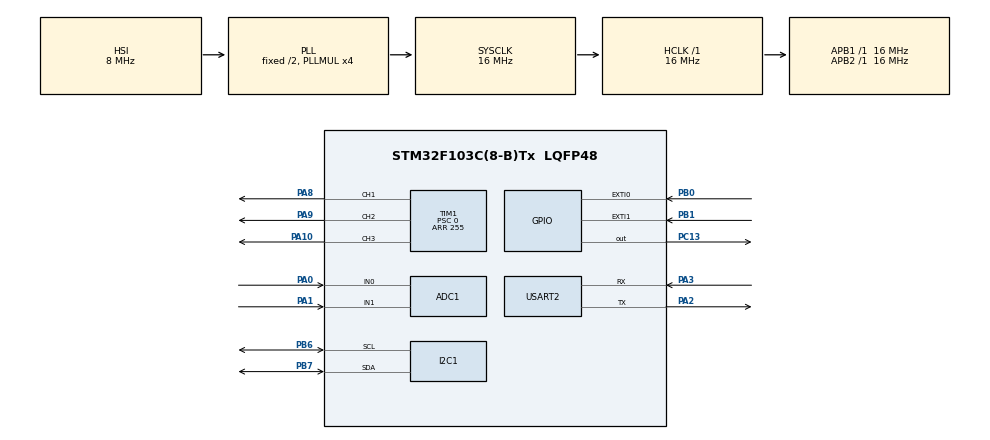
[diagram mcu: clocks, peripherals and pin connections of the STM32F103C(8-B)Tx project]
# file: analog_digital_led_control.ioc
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ADC1.Channel-4\#ChannelRegularConversion=ADC_CHANNEL_1
ADC1.ContinuousConvMode=ENABLE
ADC1.DiscontinuousConvMode=DISABLE
ADC1.NbrOfConversion=2
ADC1.NbrOfConversionFlag=1
ADC1.Rank-4\#ChannelRegularConversion=2
ADC1.SamplingTime-2\#ChannelRegularConversion=ADC_SAMPLETIME_239CYCLES_5
ADC1.SamplingTime-4\#ChannelRegularConversion=ADC_SAMPLETIME_239CYCLES_5
ADC1.master=1
Dma.ADC1.0.Direction=DMA_PERIPH_TO_MEMORY
Dma.ADC1.0.Instance=DMA1_Channel1
Dma.ADC1.0.MemDataAlignment=DMA_MDATAALIGN_HALFWORD
Dma.ADC1.0.MemInc=DMA_MINC_ENABLE
Dma.ADC1.0.Mode=DMA_NORMAL
Dma.ADC1.0.PeriphDataAlignment=DMA_PDATAALIGN_HALFWORD
Dma.ADC1.0.PeriphInc=DMA_PINC_DISABLE
Dma.ADC1.0.Priority=DMA_PRIORITY_LOW
Dma.Request0=ADC1
Mcu.Family=STM32F1
Mcu.Name=STM32F103C(8-B)Tx
Mcu.Package=LQFP48
NVIC.DMA1_Channel1_IRQn=true\:0\:0\:false\:false\:true\:false\:true\:true
NVIC.EXTI0_IRQn=true\:0\:0\:false\:false\:true\:true\:true\:true
NVIC.EXTI1_IRQn=true\:0\:0\:false\:false\:true\:true\:true\:true
NVIC.PriorityGroup=NVIC_PRIORITYGROUP_4
PA0-WKUP.Signal=ADCx_IN0
PA1.Signal=ADCx_IN1
PA10.Signal=S_TIM1_CH3
PA13.Mode=Serial_Wire
PA13.Signal=SYS_JTMS-SWDIO
PA14.Mode=Serial_Wire
PA14.Signal=SYS_JTCK-SWCLK
PA2.Mode=Asynchronous
PA2.Signal=USART2_TX
PA3.Mode=Asynchronous
PA3.Signal=USART2_RX
PA8.Signal=S_TIM1_CH1
PA9.Signal=S_TIM1_CH2
PB0.GPIO_ModeDefaultEXTI=GPIO_MODE_IT_FALLING
PB0.GPIO_PuPd=GPIO_PULLUP
PB0.Signal=GPXTI0
PB1.GPIO_ModeDefaultEXTI=GPIO_MODE_IT_FALLING
PB1.GPIO_PuPd=GPIO_PULLUP
PB1.Signal=GPXTI1
PB6.Mode=I2C
PB6.Signal=I2C1_SCL
PB7.Mode=I2C
PB7.Signal=I2C1_SDA
PC13-TAMPER-RTC.Signal=GPIO_Output
PD0-OSC_IN.Mode=HSE-External-Oscillator
PD0-OSC_IN.Signal=RCC_OSC_IN
PD1-OSC_OUT.Mode=HSE-External-Oscillator
PD1-OSC_OUT.Signal=RCC_OSC_OUT
ProjectManager.HeapSize=0x200
ProjectManager.StackSize=0x400
ProjectManager.TargetToolchain=STM32CubeIDE
RCC.AHBFreq_Value=16000000
RCC.APB1Freq_Value=16000000
RCC.APB1TimFreq_Value=16000000
RCC.APB2Freq_Value=16000000
RCC.APB2TimFreq_Value=16000000
RCC.HCLKFreq_Value=16000000
RCC.PLLMUL=RCC_PLL_MUL4
RCC.SYSCLKFreq_VALUE=16000000
RCC.SYSCLKSource=RCC_SYSCLKSOURCE_PLLCLK
RCC.USBFreq_Value=16000000
SH.ADCx_IN0.0=ADC1_IN0,IN0
SH.ADCx_IN1.0=ADC1_IN1,IN1
SH.S_TIM1_CH1.0=TIM1_CH1,PWM Generation1 CH1
SH.S_TIM1_CH2.0=TIM1_CH2,PWM Generation2 CH2
SH.S_TIM1_CH3.0=TIM1_CH3,PWM Generation3 CH3
TIM1.Channel-PWM\ Generation1\ CH1=TIM_CHANNEL_1
TIM1.Channel-PWM\ Generation2\ CH2=TIM_CHANNEL_2
TIM1.Channel-PWM\ Generation3\ CH3=TIM_CHANNEL_3
TIM1.Period=255
TIM1.Prescaler=0
TIM1.Pulse-PWM\ Generation1\ CH1=0
TIM1.Pulse-PWM\ Generation3\ CH3=0
USART2.VirtualMode=VM_ASYNC
board=custom

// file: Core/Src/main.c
/* USER CODE BEGIN Header */
/**
  ******************************************************************************
  * @file           : main.c
  * @brief          : Main program body
  ******************************************************************************
  * @attention
  *
  * Copyright (c) 2025 STMicroelectronics.
  * All rights reserved.
  *
  * This software is licensed under terms that can be found in the LICENSE file
  * in the root directory of this software component.
  * If no LICENSE file comes with this software, it is provided AS-IS.
  *
  ******************************************************************************
  */
/* USER CODE END Header */
#include "main.h"

/* USER CODE BEGIN PD */
PCF8574_HandleTypeDef pcf8574;

/* USER CODE END PD */

ADC_HandleTypeDef hadc1;
DMA_HandleTypeDef hdma_adc1;

I2C_HandleTypeDef hi2c1;

TIM_HandleTypeDef htim1;

UART_HandleTypeDef huart2;

void SystemClock_Config(void);
static void MX_GPIO_Init(void);
static void MX_DMA_Init(void);
static void MX_I2C1_Init(void);
static void MX_TIM1_Init(void);
static void MX_ADC1_Init(void);
static void MX_USART2_UART_Init(void);

/* USER CODE BEGIN 0 */
uint16_t adcData[2];
float adcVoltage[ADC_CHANNELS_NUM];
uint8_t flag = 1;

void UART_SendString(char *str)
{
    HAL_UART_Transmit(&huart2, (uint8_t*)str, strlen(str), HAL_MAX_DELAY);
}
/* USER CODE END 0 */

int main(void)
{

  /* MCU Configuration--------------------------------------------------------*/

  /* Reset of all peripherals, Initializes the Flash interface and the Systick. */
  HAL_Init();

  /* USER CODE BEGIN Init */
  srand(HAL_GetTick());

  /* USER CODE END Init */

  /* Configure the system clock */
  SystemClock_Config();

  /* Initialize all configured peripherals */
  MX_GPIO_Init();
  MX_DMA_Init();
  MX_I2C1_Init();
  MX_TIM1_Init();
  MX_ADC1_Init();
  MX_USART2_UART_Init();
  /* USER CODE BEGIN 2 */
  PCF8574_Init(&pcf8574, &hi2c1, 0, 0, 0);
  HAL_TIM_PWM_Start(&htim1, TIM_CHANNEL_1);
  HAL_TIM_PWM_Start(&htim1, TIM_CHANNEL_2);
  HAL_TIM_PWM_Start(&htim1, TIM_CHANNEL_3);

  /* USER CODE END 2 */

  /* Infinite loop */
  while (1)
  {

    /* USER CODE BEGIN 3 */
	  if (flag) {
	        HAL_ADC_Stop_DMA(&hadc1);

	        float voltage0 = ((float)adcData[0] / 4095) * 3.3;
	        float voltage1 = ((float)adcData[1] / 4095) * 3.3;
	        char buffer[50];
	        snprintf(buffer, sizeof(buffer), "CH0: %.2fV, CH1: %.2fV\r\n", voltage0, voltage1);
	        UART_SendString(buffer);
	        uint32_t ledValue = (uint32_t)((voltage0 / 3.3) * 1000);
	        __HAL_TIM_SET_COMPARE(&htim1, TIM_CHANNEL_1, ledValue);

	        uint32_t potentiometerValue = (uint32_t)((voltage1 / 6.3) * 1000);
	        __HAL_TIM_SET_COMPARE(&htim1, TIM_CHANNEL_2, potentiometerValue);

	        adcData[0] = 0;
	        adcData[1] = 0;
	        HAL_ADC_Start_DMA(&hadc1, (uint32_t*)&adcData, 2);

	  }

	  switch (ledBlinkMode) {
		  case LED_BLINK_OFF: {
			 PCF8574_WritePort(&pcf8574, ~0x0);
        	 break;
		  }

          case LED_BLINK_SLOW_SYNC: {
        	 HAL_Delay(1500);
        	 PCF8574_WritePort(&pcf8574, 0x0);
        	 HAL_Delay(1500);
        	 PCF8574_WritePort(&pcf8574, ~0x0);
             break;
          }

		  case LED_BLINK_FAST_SYNC: {
			  HAL_Delay(500);
			  PCF8574_WritePort(&pcf8574, 0x0);
			  HAL_Delay(500);
			  PCF8574_WritePort(&pcf8574, ~0x0);
			  break;
		   }

		   case LED_BLINK_FAST_SEQ: {
			   for (int led_pin = 4; led_pin < 7; led_pin++) {
				   PCF8574_TogglePin(&pcf8574, led_pin);
				   HAL_Delay(500);
			   }
			   break;
		   }

		   case LED_BLINK_SLOW_SEQ: {
			   for (int led_pin = 4; led_pin < 7; led_pin++) {
				   PCF8574_TogglePin(&pcf8574, led_pin);
				   HAL_Delay(1500);
			   }
			   break;
		   }

		   case LED_BLINK_RANDOM: {

			   while(LED_BLINK_RANDOM  == ledBlinkMode) {
				   int led_pin = (rand() % 7) + 4;
				   PCF8574_TogglePin(&pcf8574, led_pin);
				   HAL_Delay(700 / (rand() % 10));

			   }
			   break;
		   }

		  }

  }
  /* USER CODE END 3 */
}

void SystemClock_Config(void)
{
  RCC_OscInitTypeDef RCC_OscInitStruct = {0};
  RCC_ClkInitTypeDef RCC_ClkInitStruct = {0};
  RCC_PeriphCLKInitTypeDef PeriphClkInit = {0};

  /** Initializes the RCC Oscillators according to the specified parameters
  * in the RCC_OscInitTypeDef structure.
  */
  RCC_OscInitStruct.OscillatorType = RCC_OSCILLATORTYPE_HSI;
  RCC_OscInitStruct.HSIState = RCC_HSI_ON;
  RCC_OscInitStruct.HSICalibrationValue = RCC_HSICALIBRATION_DEFAULT;
  RCC_OscInitStruct.PLL.PLLState = RCC_PLL_ON;
  RCC_OscInitStruct.PLL.PLLSource = RCC_PLLSOURCE_HSI_DIV2;
  RCC_OscInitStruct.PLL.PLLMUL = RCC_PLL_MUL4;
  if (HAL_RCC_OscConfig(&RCC_OscInitStruct) != HAL_OK)
  {
    Error_Handler();
  }

  /** Initializes the CPU, AHB and APB buses clocks
  */
  RCC_ClkInitStruct.ClockType = RCC_CLOCKTYPE_HCLK|RCC_CLOCKTYPE_SYSCLK
                              |RCC_CLOCKTYPE_PCLK1|RCC_CLOCKTYPE_PCLK2;
  RCC_ClkInitStruct.SYSCLKSource = RCC_SYSCLKSOURCE_PLLCLK;
  RCC_ClkInitStruct.AHBCLKDivider = RCC_SYSCLK_DIV1;
  RCC_ClkInitStruct.APB1CLKDivider = RCC_HCLK_DIV1;
  RCC_ClkInitStruct.APB2CLKDivider = RCC_HCLK_DIV1;

  if (HAL_RCC_ClockConfig(&RCC_ClkInitStruct, FLASH_LATENCY_0) != HAL_OK)
  {
    Error_Handler();
  }
  PeriphClkInit.PeriphClockSelection = RCC_PERIPHCLK_ADC;
  PeriphClkInit.AdcClockSelection = RCC_ADCPCLK2_DIV2;
  if (HAL_RCCEx_PeriphCLKConfig(&PeriphClkInit) != HAL_OK)
  {
    Error_Handler();
  }
}

static void MX_ADC1_Init(void)
{

  ADC_ChannelConfTypeDef sConfig = {0};

  /** Common config
  */
  hadc1.Instance = ADC1;
  hadc1.Init.ScanConvMode = ADC_SCAN_ENABLE;
  hadc1.Init.ContinuousConvMode = ENABLE;
  hadc1.Init.DiscontinuousConvMode = DISABLE;
  hadc1.Init.ExternalTrigConv = ADC_SOFTWARE_START;
  hadc1.Init.DataAlign = ADC_DATAALIGN_RIGHT;
  hadc1.Init.NbrOfConversion = 2;
  if (HAL_ADC_Init(&hadc1) != HAL_OK)
  {
    Error_Handler();
  }

  /** Configure Regular Channel
  */
  sConfig.Channel = ADC_CHANNEL_0;
  sConfig.Rank = ADC_REGULAR_RANK_1;
  sConfig.SamplingTime = ADC_SAMPLETIME_239CYCLES_5;
  if (HAL_ADC_ConfigChannel(&hadc1, &sConfig) != HAL_OK)
  {
    Error_Handler();
  }

  /** Configure Regular Channel
  */
  sConfig.Channel = ADC_CHANNEL_1;
  sConfig.Rank = ADC_REGULAR_RANK_2;
  if (HAL_ADC_ConfigChannel(&hadc1, &sConfig) != HAL_OK)
  {
    Error_Handler();
  }

}

static void MX_I2C1_Init(void)
{

  hi2c1.Instance = I2C1;
  hi2c1.Init.ClockSpeed = 100000;
  hi2c1.Init.DutyCycle = I2C_DUTYCYCLE_2;
  hi2c1.Init.OwnAddress1 = 0;
  hi2c1.Init.AddressingMode = I2C_ADDRESSINGMODE_7BIT;
  hi2c1.Init.DualAddressMode = I2C_DUALADDRESS_DISABLE;
  hi2c1.Init.OwnAddress2 = 0;
  hi2c1.Init.GeneralCallMode = I2C_GENERALCALL_DISABLE;
  hi2c1.Init.NoStretchMode = I2C_NOSTRETCH_DISABLE;
  if (HAL_I2C_Init(&hi2c1) != HAL_OK)
  {
    Error_Handler();
  }

}

static void MX_TIM1_Init(void)
{

  TIM_MasterConfigTypeDef sMasterConfig = {0};
  TIM_OC_InitTypeDef sConfigOC = {0};
  TIM_BreakDeadTimeConfigTypeDef sBreakDeadTimeConfig = {0};

  htim1.Instance = TIM1;
  htim1.Init.Prescaler = 0;
  htim1.Init.CounterMode = TIM_COUNTERMODE_UP;
  htim1.Init.Period = 255;
  htim1.Init.ClockDivision = TIM_CLOCKDIVISION_DIV1;
  htim1.Init.RepetitionCounter = 0;
  htim1.Init.AutoReloadPreload = TIM_AUTORELOAD_PRELOAD_DISABLE;
  if (HAL_TIM_PWM_Init(&htim1) != HAL_OK)
  {
    Error_Handler();
  }
  sMasterConfig.MasterOutputTrigger = TIM_TRGO_RESET;
  sMasterConfig.MasterSlaveMode = TIM_MASTERSLAVEMODE_DISABLE;
  if (HAL_TIMEx_MasterConfigSynchronization(&htim1, &sMasterConfig) != HAL_OK)
  {
    Error_Handler();
  }
  sConfigOC.OCMode = TIM_OCMODE_PWM1;
  sConfigOC.Pulse = 0;
  sConfigOC.OCPolarity = TIM_OCPOLARITY_HIGH;
  sConfigOC.OCNPolarity = TIM_OCNPOLARITY_HIGH;
  sConfigOC.OCFastMode = TIM_OCFAST_DISABLE;
  sConfigOC.OCIdleState = TIM_OCIDLESTATE_RESET;
  sConfigOC.OCNIdleState = TIM_OCNIDLESTATE_RESET;
  if (HAL_TIM_PWM_ConfigChannel(&htim1, &sConfigOC, TIM_CHANNEL_1) != HAL_OK)
  {
    Error_Handler();
  }
  if (HAL_TIM_PWM_ConfigChannel(&htim1, &sConfigOC, TIM_CHANNEL_2) != HAL_OK)
  {
    Error_Handler();
  }
  if (HAL_TIM_PWM_ConfigChannel(&htim1, &sConfigOC, TIM_CHANNEL_3) != HAL_OK)
  {
    Error_Handler();
  }
  sBreakDeadTimeConfig.OffStateRunMode = TIM_OSSR_DISABLE;
  sBreakDeadTimeConfig.OffStateIDLEMode = TIM_OSSI_DISABLE;
  sBreakDeadTimeConfig.LockLevel = TIM_LOCKLEVEL_OFF;
  sBreakDeadTimeConfig.DeadTime = 0;
  sBreakDeadTimeConfig.BreakState = TIM_BREAK_DISABLE;
  sBreakDeadTimeConfig.BreakPolarity = TIM_BREAKPOLARITY_HIGH;
  sBreakDeadTimeConfig.AutomaticOutput = TIM_AUTOMATICOUTPUT_DISABLE;
  if (HAL_TIMEx_ConfigBreakDeadTime(&htim1, &sBreakDeadTimeConfig) != HAL_OK)
  {
    Error_Handler();
  }
  HAL_TIM_MspPostInit(&htim1);

}

static void MX_USART2_UART_Init(void)
{

  huart2.Instance = USART2;
  huart2.Init.BaudRate = 115200;
  huart2.Init.WordLength = UART_WORDLENGTH_8B;
  huart2.Init.StopBits = UART_STOPBITS_1;
  huart2.Init.Parity = UART_PARITY_NONE;
  huart2.Init.Mode = UART_MODE_TX_RX;
  huart2.Init.HwFlowCtl = UART_HWCONTROL_NONE;
  huart2.Init.OverSampling = UART_OVERSAMPLING_16;
  if (HAL_UART_Init(&huart2) != HAL_OK)
  {
    Error_Handler();
  }

}

static void MX_DMA_Init(void)
{

  /* DMA controller clock enable */
  __HAL_RCC_DMA1_CLK_ENABLE();

  /* DMA interrupt init */
  /* DMA1_Channel1_IRQn interrupt configuration */
  HAL_NVIC_SetPriority(DMA1_Channel1_IRQn, 0, 0);
  HAL_NVIC_EnableIRQ(DMA1_Channel1_IRQn);

}

static void MX_GPIO_Init(void)
{
  GPIO_InitTypeDef GPIO_InitStruct = {0};

  /* GPIO Ports Clock Enable */
  __HAL_RCC_GPIOC_CLK_ENABLE();
  __HAL_RCC_GPIOD_CLK_ENABLE();
  __HAL_RCC_GPIOA_CLK_ENABLE();
  __HAL_RCC_GPIOB_CLK_ENABLE();

  /*Configure GPIO pin Output Level */
  HAL_GPIO_WritePin(GPIOC, GPIO_PIN_13, GPIO_PIN_RESET);

  /*Configure GPIO pin : PC13 */
  GPIO_InitStruct.Pin = GPIO_PIN_13;
  GPIO_InitStruct.Mode = GPIO_MODE_OUTPUT_PP;
  GPIO_InitStruct.Pull = GPIO_NOPULL;
  GPIO_InitStruct.Speed = GPIO_SPEED_FREQ_LOW;
  HAL_GPIO_Init(GPIOC, &GPIO_InitStruct);

  /*Configure GPIO pins : PB0 PB1 */
  GPIO_InitStruct.Pin = GPIO_PIN_0|GPIO_PIN_1;
  GPIO_InitStruct.Mode = GPIO_MODE_IT_FALLING;
  GPIO_InitStruct.Pull = GPIO_PULLUP;
  HAL_GPIO_Init(GPIOB, &GPIO_InitStruct);

  /* EXTI interrupt init*/
  HAL_NVIC_SetPriority(EXTI0_IRQn, 0, 0);
  HAL_NVIC_EnableIRQ(EXTI0_IRQn);

  HAL_NVIC_SetPriority(EXTI1_IRQn, 0, 0);
  HAL_NVIC_EnableIRQ(EXTI1_IRQn);

}

void Error_Handler(void)
{
  __disable_irq();
  while (1)
  {
  }
}
